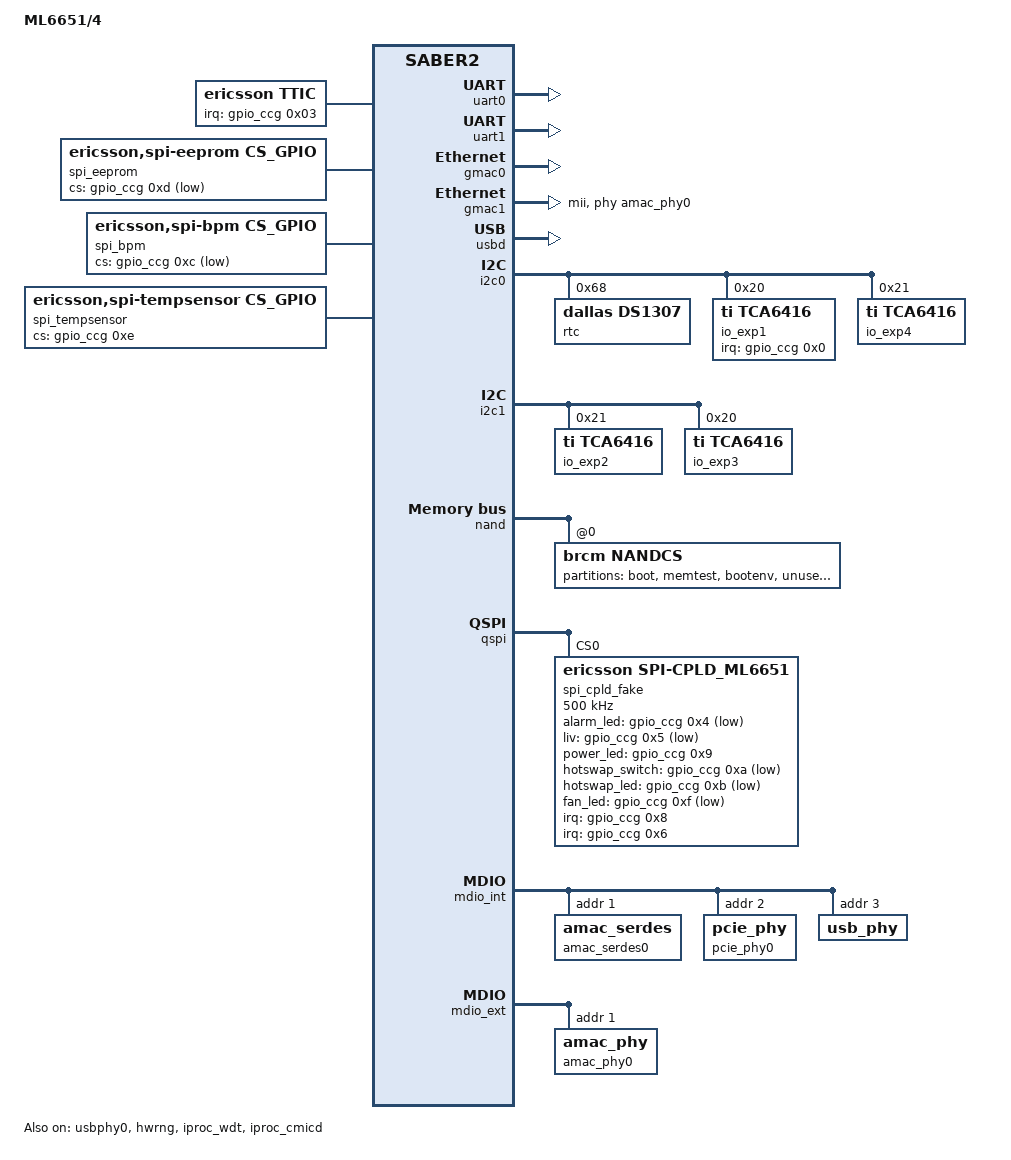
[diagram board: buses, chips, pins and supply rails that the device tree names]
/*
 *  BSD LICENSE
 *
 *  Copyright(c) 2016 Broadcom Corporation.  All rights reserved.
 *
 *  Redistribution and use in source and binary forms, with or without
 *  modification, are permitted provided that the following conditions
 *  are met:
 *
 *    * Redistributions of source code must retain the above copyright
 *      notice, this list of conditions and the following disclaimer.
 *    * Redistributions in binary form must reproduce the above copyright
 *      notice, this list of conditions and the following disclaimer in
 *      the documentation and/or other materials provided with the
 *      distribution.
 *    * Neither the name of Broadcom Corporation nor the names of its
 *      contributors may be used to endorse or promote products derived
 *      from this software without specific prior written permission.
 *
 *  THIS SOFTWARE IS PROVIDED BY THE COPYRIGHT HOLDERS AND CONTRIBUTORS
 *  "AS IS" AND ANY EXPRESS OR IMPLIED WARRANTIES, INCLUDING, BUT NOT
 *  LIMITED TO, THE IMPLIED WARRANTIES OF MERCHANTABILITY AND FITNESS FOR
 *  A PARTICULAR PURPOSE ARE DISCLAIMED. IN NO EVENT SHALL THE COPYRIGHT
 *  OWNER OR CONTRIBUTORS BE LIABLE FOR ANY DIRECT, INDIRECT, INCIDENTAL,
 *  SPECIAL, EXEMPLARY, OR CONSEQUENTIAL DAMAGES (INCLUDING, BUT NOT
 *  LIMITED TO, PROCUREMENT OF SUBSTITUTE GOODS OR SERVICES; LOSS OF USE,
 *  DATA, OR PROFITS; OR BUSINESS INTERRUPTION) HOWEVER CAUSED AND ON ANY
 *  THEORY OF LIABILITY, WHETHER IN CONTRACT, STRICT LIABILITY, OR TORT
 *  (INCLUDING NEGLIGENCE OR OTHERWISE) ARISING IN ANY WAY OUT OF THE USE
 *  OF THIS SOFTWARE, EVEN IF ADVISED OF THE POSSIBILITY OF SUCH DAMAGE.
 */

/dts-v1/;

#include "bcm-saber2.dtsi"

/ {
	model = "ML6651/4";
	compatible = "ericsson,npu1003", "brcm,saber2";

	aliases {
		serial0 = &uart0;
		serial1 = &uart1;
		ethernet0 = &gmac0;
		ethernet1 = &gmac1;
	};

	chosen {
		bootargs = "console=ttyS0,115200n8 maxcpus=1 ubi.mtd=1 root=ubi0:rootfs rootflags=bulk_read rootfstype=ubifs user_debug=31";
	};

	ttic {
		compatible = "ericsson,ttic";
		interrupts = <0x03 IRQ_TYPE_EDGE_FALLING>;
		interrupt-parent =<&gpio_ccg>;
	};

	rmm {
		compatible = "ericsson,rmm";
	};

	spi_eeprom {
		compatible = "ericsson,spi-eeprom,cs_gpio";
		spi-cpol;
		cs = <&gpio_ccg 0xd GPIO_ACTIVE_LOW>;
	};

	spi_bpm {
		compatible = "ericsson,spi-bpm,cs_gpio";
		spi-cpol;
		cs = <&gpio_ccg 0xc GPIO_ACTIVE_LOW>;
	};

	spi_liu {
		compatible = "ericsson,spi-liu,idt82p5088,cs_gpio";
		spi-cpol;
		cs = <&io_exp1 0xa GPIO_ACTIVE_LOW>;
	};

	spi_tempsensor {
		compatible = "ericsson,spi-tempsensor,cs_gpio";
		spi-cpol;
		spi-cpha;
		cs = <&gpio_ccg 0xe GPIO_ACTIVE_HIGH>;
	};
};

&uart0 {
	status = "okay";
};

&uart1 {
	status = "okay";
};

&gmac0 {
	status = "okay";
	serdes-handle = <&amac_serdes0>;
};

&gmac1 {
	status = "okay";
	phy-handle = <&amac_phy0>;
	phy-mode = "mii";
};

&usbphy0 {
	status = "okay";
	mdio-phy-handle = <&usb_phy>;
};

&usbd {
	status = "okay";
};

&gpio_ccg {
	status = "okay";
};

&i2c0 {
	status = "okay";
	rtc@0x68 {
		compatible = "dallas,ds1307";
		reg = <0x68>;
	};

	io_exp1: io_exp@0x20 {
		compatible = "ti,tca6416";
		reg = <0x20>;
		interrupt-parent = <&gpio_ccg>;
		interrupts = <0x0 IRQ_TYPE_EDGE_FALLING>;
		gpio-controller;
		#gpio-cells = <0x2>;
		interrupt-controller;
		#interrupt-cells = <2>;
	};

	io_exp4: io_exp@0x21 {
		compatible = "ti,tca6416";
		reg = <0x21>;
		gpio-controller;
		#gpio-cells = <0x2>;
		ngpios = <16>;
	};
};

&i2c1 {
	status = "okay";

	io_exp2: io_exp@0x21 {
		compatible = "ti,tca6416";
		reg = <0x21>;
		gpio-controller;
		#gpio-cells = <0x2>;
		ngpios = <16>;
	};

	io_exp3: io_exp@0x20 {
		compatible = "ti,tca6416";
		reg = <0x20>;
		gpio-controller;
		#gpio-cells = <0x2>;
		ngpios = <16>;
	};
};

&nand {
	status = "okay";
	nandcs@1 {
		compatible = "brcm,nandcs";
		reg = <0>;
		nand-on-flash-bbt;
		/*nand-bus-width = <8>;*/
		nand-ecc-strength = <4>;
		nand-ecc-step-size = <512>;
		brcm,nand-oob-sector-size = <16>;

		partitions {
			compatible = "ml66,npu-partitions", "fixed-partitions";
			#address-cells = <1>;
			#size-cells = <1>;

			partition@0 {
				label = "boot";
				reg = <0x0 0x100000>;
			};
			partition@1 {
				label = "memtest";
				reg = <0x100000 0x100000>;
			};
			partition@2 {
				label = "bootenv";
				reg = <0x200000 0x100000>;
			};
			partition@3 {
				label = "unused";
				reg = <0x300000 0x100000>;
			};
			partition@4 {
				label = "iproc_ram_tuning";
				reg = <0x400000 0x100000>;
			};
			partition@5 {
				label = "nandtest";
				reg = <0x500000 0x100000>;
			};
			partition@6 {
				label = "pbist";
				reg = <0x600000 0x3A00000>;
			};
			partition@7 {
				label = "lm0";
				reg = <0x04000000 0x10000000>;
			};
			partition@8 {
				label = "lm1";
				reg = <0x14000000 0x10000000>;
			};
			partition@9 {
				label = "util";
				reg = <0x24000000 0x58000000>;
			};
			partition@10 {
				label = "crash";
				reg = <0x7c000000 0x4000000>;
			};
		};
	};
};

&qspi {
	status = "okay";
	spi_cpld_fake@0 {
		reg = <0>;
		compatible = "ericsson,spi-cpld_ml6651";
		spi-max-frequency = <500000>;
		interrupts-extended =
			<&gpio_ccg 0x8 IRQ_TYPE_EDGE_FALLING>,  // PLD_IRQ_N
			<&gpio_ccg 0x6 IRQ_TYPE_EDGE_FALLING>,  // DCDC_SPI_IRQ_N
			<&gpio_ccg 0x5 IRQ_TYPE_EDGE_FALLING>,  // LIV_IRQ_N
			<&gpio_ccg 0xa IRQ_TYPE_EDGE_FALLING>;  // HOTSWAP_SWITCH_N
		// GPIO on MCU
		alarm_led      = <&gpio_ccg 0x4 GPIO_ACTIVE_LOW>;  // LED_CTRL[2]
		liv            = <&gpio_ccg 0x5 GPIO_ACTIVE_LOW>;  // LIV_IRQ_N
		power_led      = <&gpio_ccg 0x9 GPIO_ACTIVE_HIGH>; // LED_CTRL[0]
		hotswap_switch = <&gpio_ccg 0xa GPIO_ACTIVE_LOW>;  // HOTSWAP_SWITCH_N
		hotswap_led    = <&gpio_ccg 0xb GPIO_ACTIVE_LOW>;  // LED_CTRL[1]
		fan_led        = <&gpio_ccg 0xf GPIO_ACTIVE_LOW>;  // LED_CTRL[3]
		// GPIO on IO Expander
		reset_type     = <&io_exp1  0x2 GPIO_ACTIVE_HIGH>; // RESET_TYPE
		fpga_ready     = <&io_exp4  0xa GPIO_ACTIVE_HIGH>; // FPGA_READY
		fpga_loaded    = <&io_exp4  0xb GPIO_ACTIVE_HIGH>; // FPGA_DONE
	};
};


&mdio_int {
	status = "okay";
	amac_serdes0: amac_serdes@0 {
		reg = <1>;
	};
	pcie_phy0: pcie_phy@0 {
		reg = <2>;
	};
	usb_phy: usb_phy@0 {
		reg = <3>;
	};
};

&mdio_ext {
	status = "okay";
	amac_phy0: amac_phy@0 {
		reg = <1>;
	};
};

&hwrng {
	status = "okay";
};

&iproc_wdt {
	status = "okay";
};

&dmac0 {
	status = "okay";
};

&iproc_cmicd {
	status = "okay";
};
